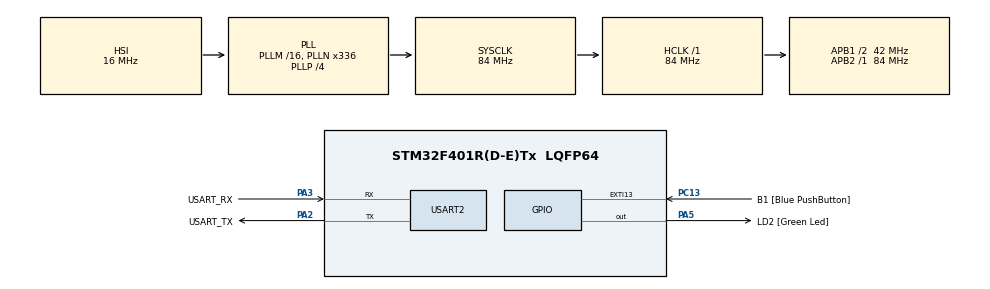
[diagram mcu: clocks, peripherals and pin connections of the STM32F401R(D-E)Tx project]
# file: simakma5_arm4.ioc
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Mcu.Family=STM32F4
Mcu.Name=STM32F401R(D-E)Tx
Mcu.Package=LQFP64
NVIC.PriorityGroup=NVIC_PRIORITYGROUP_0
PA13.GPIO_Label=TMS
PA13.Mode=Serial_Wire
PA13.Signal=SYS_JTMS-SWDIO
PA14.GPIO_Label=TCK
PA14.Mode=Serial_Wire
PA14.Signal=SYS_JTCK-SWCLK
PA2.GPIO_Label=USART_TX
PA2.GPIO_Mode=GPIO_MODE_AF_PP
PA2.GPIO_PuPd=GPIO_NOPULL
PA2.GPIO_Speed=GPIO_SPEED_FREQ_LOW
PA2.Mode=Asynchronous
PA2.Signal=USART2_TX
PA3.GPIO_Label=USART_RX
PA3.GPIO_Mode=GPIO_MODE_AF_PP
PA3.GPIO_PuPd=GPIO_NOPULL
PA3.GPIO_Speed=GPIO_SPEED_FREQ_LOW
PA3.Mode=Asynchronous
PA3.Signal=USART2_RX
PA5.GPIO_Label=LD2 [Green Led]
PA5.GPIO_Mode=GPIO_MODE_OUTPUT_PP
PA5.GPIO_PuPd=GPIO_NOPULL
PA5.GPIO_Speed=GPIO_SPEED_FREQ_LOW
PA5.Signal=GPIO_Output
PB3.GPIO_Label=SWO
PB3.Signal=SYS_JTDO-SWO
PC13-ANTI_TAMP.GPIO_Label=B1 [Blue PushButton]
PC13-ANTI_TAMP.GPIO_ModeDefaultEXTI=GPIO_MODE_IT_FALLING
PC13-ANTI_TAMP.GPIO_PuPd=GPIO_NOPULL
PC13-ANTI_TAMP.Signal=GPXTI13
PC14-OSC32_IN.Mode=LSE-External-Oscillator
PC14-OSC32_IN.Signal=RCC_OSC32_IN
PC15-OSC32_OUT.Mode=LSE-External-Oscillator
PC15-OSC32_OUT.Signal=RCC_OSC32_OUT
PH0\ -\ OSC_IN.Mode=HSE-External-Clock-Source
PH0\ -\ OSC_IN.Signal=RCC_OSC_IN
PH1\ -\ OSC_OUT.Mode=HSE-External-Clock-Source
PH1\ -\ OSC_OUT.Signal=RCC_OSC_OUT
ProjectManager.HeapSize=0x200
ProjectManager.StackSize=0x400
ProjectManager.TargetToolchain=STM32CubeIDE
RCC.48MHZClocksFreq_Value=48000000
RCC.AHBFreq_Value=84000000
RCC.APB1CLKDivider=RCC_HCLK_DIV2
RCC.APB1Freq_Value=42000000
RCC.APB1TimFreq_Value=84000000
RCC.APB2Freq_Value=84000000
RCC.APB2TimFreq_Value=84000000
RCC.CortexFreq_Value=84000000
RCC.HCLKFreq_Value=84000000
RCC.HSE_VALUE=8000000
RCC.HSI_VALUE=16000000
RCC.PLLN=336
RCC.PLLP=RCC_PLLP_DIV4
RCC.PLLQ=7
RCC.SYSCLKFreq_VALUE=84000000
RCC.SYSCLKSource=RCC_SYSCLKSOURCE_PLLCLK
RCC.VCOOutputFreq_Value=336000000
USART2.VirtualMode=VM_ASYNC
board=NUCLEO-F401RE

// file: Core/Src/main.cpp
/* USER CODE BEGIN Header */
/**
  ******************************************************************************
  * @file           : main.c
  * @brief          : Main program body
  ******************************************************************************
  * @attention
  *
  * Copyright (c) 2023 STMicroelectronics.
  * All rights reserved.
  *
  * This software is licensed under terms that can be found in the LICENSE file
  * in the root directory of this software component.
  * If no LICENSE file comes with this software, it is provided AS-IS.
  *
  ******************************************************************************
  */
/* USER CODE END Header */
#include "main.h"

/* USER CODE BEGIN Includes */
#include <stdint.h>
#include "stm32f4xx.h"
#include "lib.hpp"
/* USER CODE END Includes */

UART_HandleTypeDef huart2;

/* USER CODE BEGIN PV */
volatile uint8_t data_7seg[4] = {0xFF, 0xFF, 0xFF, 0xFF};
	// data_7seg[0]	= naught digit (left)
	// data_7seg[1]	= first digit
	// data_7seg[2]	= second digit
	// data_7seg[3]	= third digit

uint8_t dataTo7Seg[13] = {
	0b00000011,	// 0
	0b10011111,	// 1
	0b00100101,	// 2
	0b00001101,	// 3
	0b10011001,	// 4
	0b01001001,	// 5
	0b01000001,	// 6
	0b00011111,	// 7
	0b00000001,	// 8
	0b00001001,	// 9
	0b01100001,	// E		(10)
	0b11110101,	// r		(11)
	0b11111111	// <null>	(12)
};

volatile uint8_t RxByte = 0;
volatile uint8_t TxByte = 0;
/* USER CODE END PV */

void SystemClock_Config(void);
static void MX_GPIO_Init(void);
static void MX_USART2_UART_Init(void);
/* USER CODE BEGIN PFP */
static void TIM3_Init(void);
extern "C" void TIM3_IRQHandler();
static void USART2_Init(void);
extern "C" void USART2_IRQHandler();
uint8_t USART2_read();
void USART2_write(uint8_t Char);
/* USER CODE END PFP */

int main(void) {

  /* MCU Configuration--------------------------------------------------------*/

  /* Reset of all peripherals, Initializes the Flash interface and the Systick. */
  HAL_Init();

  /* Configure the system clock */
  SystemClock_Config();

  /* Initialize all configured peripherals */
  MX_GPIO_Init();
  MX_USART2_UART_Init();
  /* USER CODE BEGIN 2 */

  	/* Pin layout */
	// 7seg display:
	//	PA9	- data
	//	PA8	- clock
	//	PB5	- strobe
	//
	// UART:
	//	PA2	- Tx
	//	PA3	- Rx

  	// allow clock for GPIOA and GPIOB
	RCC->AHB1ENR |= (0b1 << 0) | (0b1 << 1);
	// allow clock for TIM3 and USART 2
	RCC->APB1ENR |= (0b1 << 1) | (0b1 << 17);

	/* GPIOx init */
	// GPIOA pins for display control
	setPinMode(GPIOA, 9, OUTPUT);	// PA9 - data
	setPinMode(GPIOA, 8, OUTPUT);	// PA8 - clock
	setPinMode(GPIOB, 5, OUTPUT);	// PB5 - strobe
	// GPIOA pins for UART communication
	setPinMode(GPIOA, 2, ALTERNATE);	// PA2 - Tx
	setPinMode(GPIOA, 3, ALTERNATE);	// PA3 - Rx
	setAlternateFunction(GPIOA, 2, 7);	// PA2 -> AF7 (USART2_TX)
	setAlternateFunction(GPIOA, 3, 7);	// PA3 -> AF7 (USART2_RX)
	// PA5 LED for debugging purposes
	setPinMode(GPIOA, 5, OUTPUT);

	/* TIM3 init (strobe clock) */
	TIM3_Init();

	/* USART2 init */
	// baud rate: 9600
	// data bits: 8
	// stop bits: 1
	// oversampling: 8
	// --> BRR = 42.000.000/(8*9.600) = 546.875
	USART2_Init();

	////////////////////////////
	//	USART->SR:
	//		TC: Transmission Complete
	//		RXNE: Read data register not empty (received data)

	uint8_t temp_data[6] = {0};
	// up to 4 digits, 1 decimal point and '\n'
  /* USER CODE END 2 */

  /* Infinite loop */
  while (1)
  {
	temp_data[0] = USART2_read();	// read character
	USART2_write(temp_data[0]);		// send it back for terminal so it's visible

	if(temp_data[0] == '\n') {		// '\n' received - attempt to write to data_7seg[]
		uint8_t status = 0;
		uint8_t pointer = 0;

		for(uint i=0; i<4; i++) data_7seg[i] = dataTo7Seg[12];			// clear data_7seg[]

		for(uint i=1; pointer<4; i++) {									// character temp_data[0] doesn't need to be checked ('\n')
			if(temp_data[i] == '.' && (status & 0b10) != 0b10) {		// decimal point - enable H segment in the previous digit
				status |= 0b10;
				if(temp_data[i+1] == 0 || i == 1) {
					status |= 0b1;
					break;
				}
				data_7seg[3-pointer] &= ~(0b1 << 0);

			} else if(temp_data[i] >= '0' && temp_data[i] <= '9') {		// received char is a number
				temp_data[i] -= 0b00110000;		// subtract 0b00110000 so that '0' -> 0 etc

				data_7seg[3-pointer] &= (dataTo7Seg[temp_data[i]]);
				pointer++;

			} else if(temp_data[i] == 0) {		// end of received data
				break;
			} else {							// received char is neither a number nor a dot
				status |= (0b1 << 0);			// error = 1
				break;
			}
		}

		////////////////////////////
		//	write " Err" to 7seg if error occured
		//	' ' = 12
		//	'E' = 10
		//	'r' = 11
		//
		if((status&0b1) == 1) {
			data_7seg[0] = dataTo7Seg[12];
			data_7seg[1] = dataTo7Seg[10];
			data_7seg[2] = dataTo7Seg[11];
			data_7seg[3] = dataTo7Seg[11];
		}

		// clear temp_data
		for(uint i=0; i<6; i++) {
			temp_data[i] = 0;
		}
	}

	// shift temp_data
	for(uint i=5; i!=0; i--) {
		temp_data[i] = temp_data[i-1];
	}
  }
}

void SystemClock_Config(void)
{
  RCC_OscInitTypeDef RCC_OscInitStruct = {0};
  RCC_ClkInitTypeDef RCC_ClkInitStruct = {0};

  /** Configure the main internal regulator output voltage
  */
  __HAL_RCC_PWR_CLK_ENABLE();
  __HAL_PWR_VOLTAGESCALING_CONFIG(PWR_REGULATOR_VOLTAGE_SCALE2);

  /** Initializes the RCC Oscillators according to the specified parameters
  * in the RCC_OscInitTypeDef structure.
  */
  RCC_OscInitStruct.OscillatorType = RCC_OSCILLATORTYPE_HSI;
  RCC_OscInitStruct.HSIState = RCC_HSI_ON;
  RCC_OscInitStruct.HSICalibrationValue = RCC_HSICALIBRATION_DEFAULT;
  RCC_OscInitStruct.PLL.PLLState = RCC_PLL_ON;
  RCC_OscInitStruct.PLL.PLLSource = RCC_PLLSOURCE_HSI;
  RCC_OscInitStruct.PLL.PLLM = 16;
  RCC_OscInitStruct.PLL.PLLN = 336;
  RCC_OscInitStruct.PLL.PLLP = RCC_PLLP_DIV4;
  RCC_OscInitStruct.PLL.PLLQ = 7;
  if (HAL_RCC_OscConfig(&RCC_OscInitStruct) != HAL_OK)
  {
    Error_Handler();
  }

  /** Initializes the CPU, AHB and APB buses clocks
  */
  RCC_ClkInitStruct.ClockType = RCC_CLOCKTYPE_HCLK|RCC_CLOCKTYPE_SYSCLK
                              |RCC_CLOCKTYPE_PCLK1|RCC_CLOCKTYPE_PCLK2;
  RCC_ClkInitStruct.SYSCLKSource = RCC_SYSCLKSOURCE_PLLCLK;
  RCC_ClkInitStruct.AHBCLKDivider = RCC_SYSCLK_DIV1;
  RCC_ClkInitStruct.APB1CLKDivider = RCC_HCLK_DIV2;
  RCC_ClkInitStruct.APB2CLKDivider = RCC_HCLK_DIV1;

  if (HAL_RCC_ClockConfig(&RCC_ClkInitStruct, FLASH_LATENCY_2) != HAL_OK)
  {
    Error_Handler();
  }
}

static void MX_USART2_UART_Init(void)
{

  huart2.Instance = USART2;
  huart2.Init.BaudRate = 115200;
  huart2.Init.WordLength = UART_WORDLENGTH_8B;
  huart2.Init.StopBits = UART_STOPBITS_1;
  huart2.Init.Parity = UART_PARITY_NONE;
  huart2.Init.Mode = UART_MODE_TX_RX;
  huart2.Init.HwFlowCtl = UART_HWCONTROL_NONE;
  huart2.Init.OverSampling = UART_OVERSAMPLING_16;
  if (HAL_UART_Init(&huart2) != HAL_OK)
  {
    Error_Handler();
  }

}

static void MX_GPIO_Init(void)
{
  GPIO_InitTypeDef GPIO_InitStruct = {0};

  /* GPIO Ports Clock Enable */
  __HAL_RCC_GPIOC_CLK_ENABLE();
  __HAL_RCC_GPIOH_CLK_ENABLE();
  __HAL_RCC_GPIOA_CLK_ENABLE();
  __HAL_RCC_GPIOB_CLK_ENABLE();

  /*Configure GPIO pin Output Level */
  HAL_GPIO_WritePin(LD2_GPIO_Port, LD2_Pin, GPIO_PIN_RESET);

  /*Configure GPIO pin : B1_Pin */
  GPIO_InitStruct.Pin = B1_Pin;
  GPIO_InitStruct.Mode = GPIO_MODE_IT_FALLING;
  GPIO_InitStruct.Pull = GPIO_NOPULL;
  HAL_GPIO_Init(B1_GPIO_Port, &GPIO_InitStruct);

  /*Configure GPIO pin : LD2_Pin */
  GPIO_InitStruct.Pin = LD2_Pin;
  GPIO_InitStruct.Mode = GPIO_MODE_OUTPUT_PP;
  GPIO_InitStruct.Pull = GPIO_NOPULL;
  GPIO_InitStruct.Speed = GPIO_SPEED_FREQ_LOW;
  HAL_GPIO_Init(LD2_GPIO_Port, &GPIO_InitStruct);

}

/* USER CODE BEGIN 4 */
// initialize TIM3 as a strobe clock
void TIM3_Init(void) {
	TIM3->DIER |= (0b1 << 0);	// interrupt enable
	TIM3->PSC = 0;				// prescaler value (f_TIM3 = 84 MHz)
	TIM3->CNT = 0;
	TIM3->ARR = 499;			// counter overflow with frequency (84*10^6)/([PSC+1]*[ARR+1]), currently 168kHz
	TIM3->CR1 |= (0b1 << 0);	// enable  TIM3
	TIM3->EGR |= (0b1 << 0); 	// update counter registers
	NVIC_EnableIRQ(TIM3_IRQn);
}

// strobe function
void TIM3_IRQHandler() {
	static uint digit = 0;		// segment choice (0 to 3)
	static uint count = 0;		// transmitted bit count (0 to 15)
	static uint16_t data = 0;	// bits sent to shift registers
	TIM3->SR &= ~(0b1 << 0); 	// clear Update Interrupt Flag

	if(count == 0) {			// trasmission's first bit: copy data_7seg[#] to data
		data = 0;	// clear for next operation
		// activate the 'digit' segment + copy already prepared data from data_7seg[digit]
		data = (0b1 << (15-digit)) | data_7seg[digit];
	}

	uint16_t bit = (data >> count) & 0b1;
	if(bit != 0) {
		GPIOA->BSRR |= (0b1 << 9);	// PA9 = '1'
	} else {
		GPIOA->BSRR |= (0b1 << 25);	// PA9 = '0'
	}
	GPIOA->BSRR |= (0b1 << 8);	// clock ↑
	__NOP();
	__NOP();
	__NOP();
	__NOP();
	__NOP();
	GPIOA->BSRR |= (0b1 << 24);	// clock ↓

	if(count == 15) {
		count = 0;
		// STROBE (PB5)
		GPIOB->BSRR |= (0b1 << 5);
		__NOP();
		__NOP();
		__NOP();
		__NOP();
		__NOP();
		GPIOB->BSRR |= (0b1 << 21);

		if(digit == 3) {
			digit = 0;
		} else {
			digit++;
		}
	} else {
		count++;
	}
}

// initialize USART2
void USART2_Init() {
	USART2->CR1 |= (0b1 << 13);		// enable USART
	USART2->CR1 |= (0b1 << 15);		// set oversampling rate (8)
	USART2->CR1 |= (0b1 << 3);		// enable transmitter
	USART2->CR1 |= (0b1 << 2);		// enable receiver
	// USART2->CR1 |= (0b1 << 7);	// enable TXEIE (data sent)
	// USART2->CR1 |= (0b1 << 5);	// enable RXNEIE (data received)
	// USART2->CR1 |= (0b1 << 6);	// enable TCIE (end of data transmission, Tx/Rx)
	USART2->BRR = (546 << 4) + 12;	// 546 + 12/16 = 546.875
	// NVIC_EnableIRQ(USART2_IRQn);
}

// USART2 interrupt (either receive or transmit finish)
void USART2_IRQHandler() {
	if(getbit(USART2->CR1, 3) && getbit(USART2->SR, 7)) {		// Transmitter enable & TXE
		togglebit(GPIOA->ODR, 5);	// toggle debug LED (PA5)

		USART2->SR &= ~(0b1 << 7);	// clear TXE
		USART2->CR1 &= ~(0b1 << 3);	// disable Transmitter
	}

	if(getbit(USART2->CR1, 2) && getbit(USART2->SR, 5)) {		// Receiver enable & RXNE
		togglebit(GPIOA->ODR, 5);	// toggle debug LED (PA5)

		data_7seg[3] = data_7seg[2];
		data_7seg[2] = data_7seg[1];
		data_7seg[1] = data_7seg[0];
		data_7seg[0] = USART2->DR+1;

		USART2->SR &= ~(0b1 << 5);	// clear RXNE
		USART2->CR1 &= ~(0b1 << 2);	// disable Receiver
	}

	USART2->SR &= ~(0b1 << 6);	// clear TC
}

uint8_t USART2_read() {
	while(!getbit(USART2->SR, 5));	// wait for char reception
	return USART2->DR;				// return received data
}

void USART2_write(uint8_t Char) {
	while(!getbit(USART2->SR, 7));	// wait for transmission buffer dump
	USART2->DR = Char;
}
/* USER CODE END 4 */

void Error_Handler(void)
{
  __disable_irq();
  while (1)
  {
  }
}
